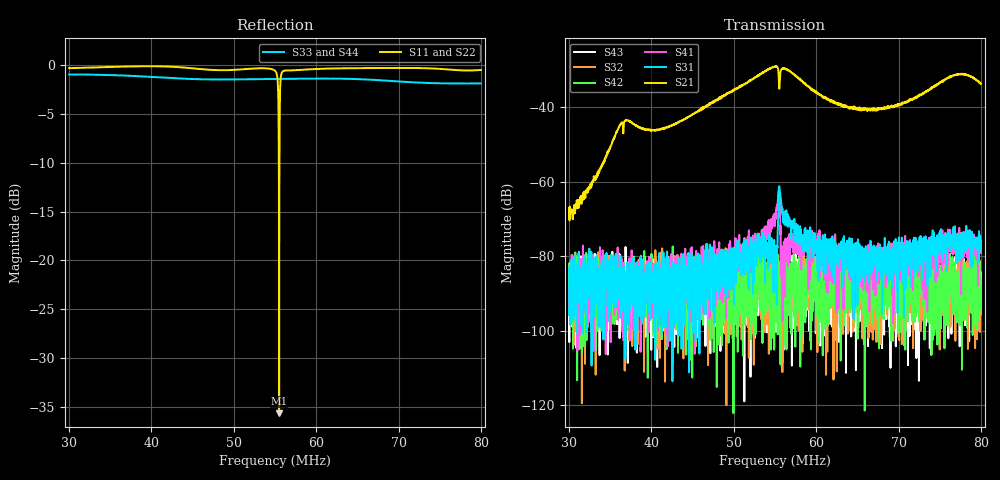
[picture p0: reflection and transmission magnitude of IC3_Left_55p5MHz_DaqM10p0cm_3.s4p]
#  HZ  S  DB  R  50.00
! Rohde & Schwarz Vector Network Analyzer
! Rohde-Schwarz,ZNB8-4Port,1311601044102961,2.82
! Created: UTC 2/13/2019, 9:57:57 AM
! freq[Hz]  db:S11  ang:S11  db:S12  ang:S12  db:S13  ang:S13  db:S14  ang:S14
!  db:S21  ang:S21  db:S22  ang:S22  db:S23  ang:S23  db:S24  ang:S24
!  db:S31  ang:S31  db:S32  ang:S32  db:S33  ang:S33  db:S34  ang:S34
!  db:S41  ang:S41  db:S42  ang:S42  db:S43  ang:S43  db:S44  ang:S44
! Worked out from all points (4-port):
!   2001 points, 30 MHz to 80 MHz, reference 50 ohm
!   strongest paths, dB at 30 MHz, 42.5 MHz, 55 MHz, 67.5 MHz, 80 MHz:
!     S21: -67.1, -44.8, -29.1, -40.3, -33.7
!     S31: -93.5, -90.7, -82.5, -81.6, -78.3
!     S41: -95.8, -87.9, -70.7, -80.1, -79.1
!     S42: -93.6, -84.3, -85.8, -90.6, -88.5
!     S32: -87.6, -99.1, -85.2, -87.9, -90.8
!     S43: -84.3, -85.8, -96.8, -83.8, -87.9
!   lowest |S11| = -35.7 dB at 55.5 MHz (marker M1), VSWR 1.03, Z = 48.6 - j0.889 ohm
!   |S11| at or under -10 dB: 55.46457 MHz to 55.53652 MHz (71.95 kHz wide, 0.13 % of centre)
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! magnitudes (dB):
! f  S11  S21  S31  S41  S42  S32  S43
! 30 MHz  -0.3  -67.1  -93.5  -95.8  -93.6  -87.6  -84.3
! 36.9 MHz  -0.1  -43.6  -91.9  -85.0  -89.9  -89.5  -94.8
! 55 MHz  -0.5  -29.1  -82.5  -70.7  -85.8  -85.2  -96.8
! 55.5 MHz  -35.7  -34.6  -61.2  -62.1  -90.1  -87.0  -83.7
! 56.02 MHz  -0.6  -29.6  -71.0  -78.4  -94.3  -96.5  -105.2
! 65.67 MHz  -0.3  -40.7  -81.7  -79.6  -82.1  -95.2  -78.9
! 80 MHz  -0.5  -33.7  -78.3  -79.1  -88.5  -90.8  -87.9
